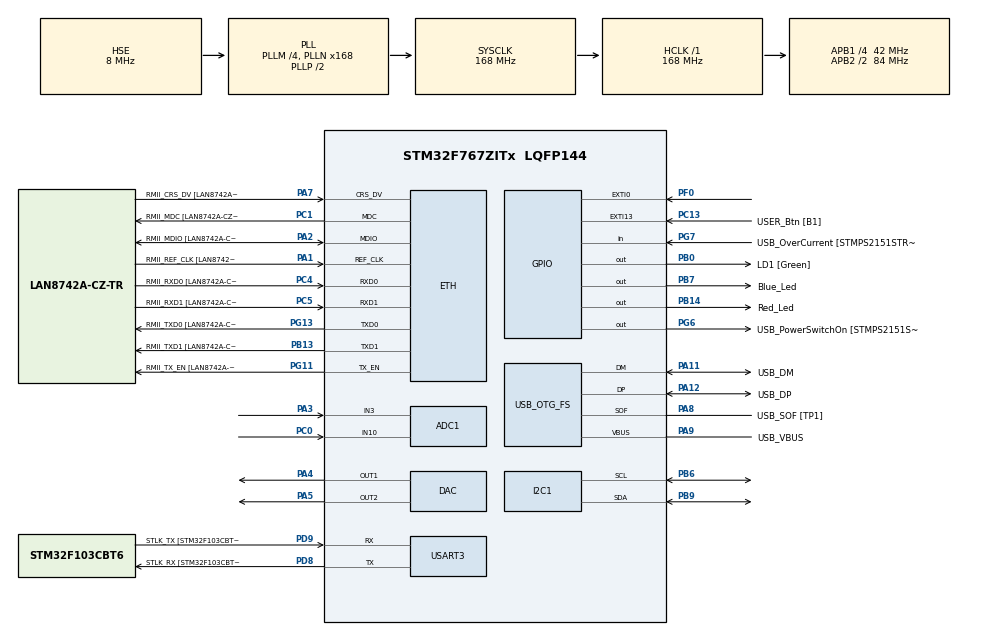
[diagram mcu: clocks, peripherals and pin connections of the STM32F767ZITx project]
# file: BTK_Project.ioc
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ADC1.Channel-0\#ChannelRegularConversion=ADC_CHANNEL_3
ADC1.Channel-1\#ChannelRegularConversion=ADC_CHANNEL_10
ADC1.Channel-2\#ChannelRegularConversion=ADC_CHANNEL_TEMPSENSOR
ADC1.Channel-3\#ChannelRegularConversion=ADC_CHANNEL_VREFINT
ADC1.ContinuousConvMode=ENABLE
ADC1.DMAContinuousRequests=ENABLE
ADC1.EOCSelection=ADC_EOC_SEQ_CONV
ADC1.NbrOfConversion=4
ADC1.NbrOfConversionFlag=1
ADC1.Rank-0\#ChannelRegularConversion=1
ADC1.Rank-1\#ChannelRegularConversion=2
ADC1.Rank-2\#ChannelRegularConversion=3
ADC1.Rank-3\#ChannelRegularConversion=4
ADC1.SamplingTime-0\#ChannelRegularConversion=ADC_SAMPLETIME_480CYCLES
ADC1.SamplingTime-1\#ChannelRegularConversion=ADC_SAMPLETIME_480CYCLES
ADC1.SamplingTime-2\#ChannelRegularConversion=ADC_SAMPLETIME_480CYCLES
ADC1.SamplingTime-3\#ChannelRegularConversion=ADC_SAMPLETIME_480CYCLES
ADC1.ScanConvMode=ADC_SCAN_ENABLE
ADC1.master=1
Dma.ADC1.0.Direction=DMA_PERIPH_TO_MEMORY
Dma.ADC1.0.FIFOMode=DMA_FIFOMODE_DISABLE
Dma.ADC1.0.Instance=DMA2_Stream0
Dma.ADC1.0.MemDataAlignment=DMA_MDATAALIGN_HALFWORD
Dma.ADC1.0.MemInc=DMA_MINC_ENABLE
Dma.ADC1.0.Mode=DMA_CIRCULAR
Dma.ADC1.0.PeriphDataAlignment=DMA_PDATAALIGN_HALFWORD
Dma.ADC1.0.PeriphInc=DMA_PINC_DISABLE
Dma.ADC1.0.Priority=DMA_PRIORITY_LOW
Dma.Request0=ADC1
ETH.MediaInterface=HAL_ETH_RMII_MODE
ETH.PHY_Name=LAN8742A_PHY_ADDRESS
ETH.PHY_Value=0
ETH.PhyAddress=0
I2C1.Timing=0x00A0A3F7
Mcu.Family=STM32F7
Mcu.Name=STM32F767ZITx
Mcu.Package=LQFP144
NVIC.ADC_IRQn=true\:0\:0\:false\:false\:true\:true\:true\:true
NVIC.DMA2_Stream0_IRQn=true\:0\:0\:false\:false\:true\:false\:true\:true
NVIC.EXTI0_IRQn=true\:0\:0\:false\:false\:true\:true\:true\:true
NVIC.PriorityGroup=NVIC_PRIORITYGROUP_4
NVIC.TIM8_TRG_COM_TIM14_IRQn=true\:0\:0\:false\:false\:true\:true\:true\:true
NVIC.USART3_IRQn=true\:0\:0\:false\:false\:true\:true\:true\:true
PA1.GPIO_Label=RMII_REF_CLK [LAN8742A-CZ-TR_REFCLK0]
PA1.Mode=RMII
PA1.Signal=ETH_REF_CLK
PA10.GPIO_Label=USB_ID
PA10.Signal=USB_OTG_FS_ID
PA11.GPIO_Label=USB_DM
PA11.Mode=Device_Only
PA11.Signal=USB_OTG_FS_DM
PA12.GPIO_Label=USB_DP
PA12.Mode=Device_Only
PA12.Signal=USB_OTG_FS_DP
PA13.GPIO_Label=TMS
PA13.Mode=Serial_Wire
PA13.Signal=SYS_JTMS-SWDIO
PA14.GPIO_Label=TCK
PA14.Mode=Serial_Wire
PA14.Signal=SYS_JTCK-SWCLK
PA2.GPIO_Label=RMII_MDIO [LAN8742A-CZ-TR_MDIO]
PA2.Mode=RMII
PA2.Signal=ETH_MDIO
PA3.Signal=ADCx_IN3
PA4.Signal=COMP_DAC1_group
PA5.Signal=COMP_DAC2_group
PA7.GPIO_Label=RMII_CRS_DV [LAN8742A-CZ-TR_CRS_DV]
PA7.Mode=RMII
PA7.Signal=ETH_CRS_DV
PA8.GPIO_Label=USB_SOF [TP1]
PA8.Mode=Activate_SOF_FS
PA8.Signal=USB_OTG_FS_SOF
PA9.GPIO_Label=USB_VBUS
PA9.Mode=Activate_VBUS
PA9.Signal=USB_OTG_FS_VBUS
PB0.GPIO_Label=LD1 [Green]
PB0.Signal=GPIO_Output
PB13.GPIO_Label=RMII_TXD1 [LAN8742A-CZ-TR_TXD1]
PB13.Mode=RMII
PB13.Signal=ETH_TXD1
PB14.GPIO_Label=Red_Led
PB14.Signal=GPIO_Output
PB3.GPIO_Label=SWO
PB3.Signal=SYS_JTDO-SWO
PB6.Mode=I2C
PB6.Signal=I2C1_SCL
PB7.GPIO_Label=Blue_Led
PB7.Signal=GPIO_Output
PB9.Mode=I2C
PB9.Signal=I2C1_SDA
PC0.Signal=ADCx_IN10
PC1.GPIO_Label=RMII_MDC [LAN8742A-CZ-TR_MDC]
PC1.Mode=RMII
PC1.Signal=ETH_MDC
PC13.GPIO_Label=USER_Btn [B1]
PC13.Signal=GPXTI13
PC14/OSC32_IN.Signal=RCC_OSC32_IN
PC15/OSC32_OUT.Signal=RCC_OSC32_OUT
PC4.GPIO_Label=RMII_RXD0 [LAN8742A-CZ-TR_RXD0]
PC4.Mode=RMII
PC4.Signal=ETH_RXD0
PC5.GPIO_Label=RMII_RXD1 [LAN8742A-CZ-TR_RXD1]
PC5.Mode=RMII
PC5.Signal=ETH_RXD1
PD8.GPIO_Label=STLK_RX [STM32F103CBT6_PA3]
PD8.Mode=Asynchronous
PD8.Signal=USART3_TX
PD9.GPIO_Label=STLK_TX [STM32F103CBT6_PA2]
PD9.Mode=Asynchronous
PD9.Signal=USART3_RX
PF0.Signal=GPXTI0
PG11.GPIO_Label=RMII_TX_EN [LAN8742A-CZ-TR_TXEN]
PG11.Mode=RMII
PG11.Signal=ETH_TX_EN
PG13.GPIO_Label=RMII_TXD0 [LAN8742A-CZ-TR_TXD0]
PG13.Mode=RMII
PG13.Signal=ETH_TXD0
PG6.GPIO_Label=USB_PowerSwitchOn [STMPS2151STR_EN]
PG6.Signal=GPIO_Output
PG7.GPIO_Label=USB_OverCurrent [STMPS2151STR_FAULT]
PG7.Signal=GPIO_Input
PH0/OSC_IN.GPIO_Label=MCO [STM32F103CBT6_PA8]
PH0/OSC_IN.Mode=HSE-External-Oscillator
PH0/OSC_IN.Signal=RCC_OSC_IN
PH1/OSC_OUT.Mode=HSE-External-Oscillator
PH1/OSC_OUT.Signal=RCC_OSC_OUT
ProjectManager.HeapSize=0x200
ProjectManager.StackSize=0x400
ProjectManager.TargetToolchain=STM32CubeIDE
RCC.48MHZClocksFreq_Value=24000000
RCC.AHBFreq_Value=168000000
RCC.APB1CLKDivider=RCC_HCLK_DIV4
RCC.APB1Freq_Value=42000000
RCC.APB1TimFreq_Value=84000000
RCC.APB2CLKDivider=RCC_HCLK_DIV2
RCC.APB2Freq_Value=84000000
RCC.APB2TimFreq_Value=168000000
RCC.CortexFreq_Value=168000000
RCC.HCLKFreq_Value=168000000
RCC.HSE_VALUE=8000000
RCC.HSI_VALUE=16000000
RCC.LSE_VALUE=32768
RCC.PLLM=4
RCC.PLLMUL=RCC_PLL_MUL9
RCC.PLLN=168
RCC.PLLQ=7
RCC.PRESCALERUSB=RCC_USBCLKSOURCE_PLL_DIV1_5
RCC.SYSCLKFreq_VALUE=168000000
RCC.SYSCLKSource=RCC_SYSCLKSOURCE_PLLCLK
RCC.SYSCLKSourceVirtual=RCC_SYSCLKSOURCE_PLLCLK
RCC.USBFreq_Value=48000000
RCC.VCOOutputFreq_Value=336000000
SH.ADCx_IN10.0=ADC1_IN10,IN10
SH.ADCx_IN3.0=ADC1_IN3,IN3
SH.COMP_DAC1_group.0=DAC_OUT1,DAC_OUT1
SH.COMP_DAC2_group.0=DAC_OUT2,DAC_OUT2
TIM14.Period=999
TIM14.Prescaler=83
USART3.VirtualMode-Asynchronous=VM_ASYNC
USB_OTG_FS.VirtualMode=Device_Only
VP_ADC1_TempSens_Input.Mode=IN-TempSens
VP_ADC1_Vref_Input.Mode=IN-Vrefint
VP_TIM14_VS_ClockSourceINT.Mode=Enable_Timer
board=NUCLEO-F767ZI

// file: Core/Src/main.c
/* USER CODE BEGIN Header */
/**
  ******************************************************************************
  * @file           : main.c
  * @brief          : Main program body
  ******************************************************************************
  */
/* USER CODE END Header */

/* USER CODE BEGIN Includes */
#include "main.h"
#include "string.h"
#include "software_timer.h"
#include "IO_driver.h"
#include "dma_driver.h"
#include "uart_ex.h"
#include "lcd_driver.h"
/* USER CODE END Includes */

#if defined ( __ICCARM__ ) /*!< IAR Compiler */
#pragma location=0x2007c000
ETH_DMADescTypeDef  DMARxDscrTab[ETH_RX_DESC_CNT]; /* Ethernet Rx DMA Descriptors */
#pragma location=0x2007c0a0
ETH_DMADescTypeDef  DMATxDscrTab[ETH_TX_DESC_CNT]; /* Ethernet Tx DMA Descriptors */

#elif defined ( __CC_ARM )  /* MDK ARM Compiler */

__attribute__((at(0x2007c000))) ETH_DMADescTypeDef  DMARxDscrTab[ETH_RX_DESC_CNT]; /* Ethernet Rx DMA Descriptors */
__attribute__((at(0x2007c0a0))) ETH_DMADescTypeDef  DMATxDscrTab[ETH_TX_DESC_CNT]; /* Ethernet Tx DMA Descriptors */

#elif defined ( __GNUC__ ) /* GNU Compiler */

ETH_DMADescTypeDef DMARxDscrTab[ETH_RX_DESC_CNT] __attribute__((section(".RxDecripSection"))); /* Ethernet Rx DMA Descriptors */
ETH_DMADescTypeDef DMATxDscrTab[ETH_TX_DESC_CNT] __attribute__((section(".TxDecripSection")));   /* Ethernet Tx DMA Descriptors */
#endif

ETH_TxPacketConfig TxConfig;

ADC_HandleTypeDef hadc1;
DMA_HandleTypeDef hdma_adc1;

DAC_HandleTypeDef hdac;

ETH_HandleTypeDef heth;

I2C_HandleTypeDef hi2c1;

TIM_HandleTypeDef htim14;

UART_HandleTypeDef huart3;

PCD_HandleTypeDef hpcd_USB_OTG_FS;

/* USER CODE BEGIN PV */
Stimer_t sTime_1s;
Stimer_t sTime_halfs;
IO_İnfo_t ioInfo;
ADC_Info_t adcInfo;
Circular_Buffer_t uart_cbin;
Circular_Buffer_t uart_cbout;
UART_Ex_t uart3;
char linebuffer[128]; // rxbuffer ismini linebuffer olarak güncelledim
LCD_t lcd =
{
.hi2c = &hi2c1,
.i2c_address = LCD_I2C_DEVICE_ADDRESS,
.rows = 2,
.colums = 16,
.backlight = true,
};
/* USER CODE END PV */

void SystemClock_Config(void);
static void MX_GPIO_Init(void);
static void MX_DMA_Init(void);
static void MX_ETH_Init(void);
static void MX_USART3_UART_Init(void);
static void MX_USB_OTG_FS_PCD_Init(void);
static void MX_ADC1_Init(void);
static void MX_DAC_Init(void);
static void MX_I2C1_Init(void);
static void MX_TIM14_Init(void);

int main(void)
{

  /* MCU Configuration--------------------------------------------------------*/

  /* Reset of all peripherals, Initializes the Flash interface and the Systick. */
  HAL_Init();

  /* Configure the system clock */
  SystemClock_Config();

  /* Initialize all configured peripherals */
  MX_GPIO_Init();
  MX_DMA_Init();
  MX_ETH_Init();
  MX_USART3_UART_Init();
  MX_USB_OTG_FS_PCD_Init();
  MX_ADC1_Init();
  MX_DAC_Init();
  MX_I2C1_Init();
  MX_TIM14_Init();
  /* USER CODE BEGIN 2 */
  software_timer_Init(&htim14);
  software_set_time(&sTime_1s, 1000);
  software_set_time(&sTime_halfs, 500);
  IO_İnitialization(&ioInfo);
  UARTx_Init(&uart3, &huart3, &uart_cbin, &uart_cbout);
  ADC_Initialization(&adcInfo, &hadc1);
  LCD_Initialization(&lcd);
  LCD_Clear(&lcd);
  LCD_Set_Cursor(&lcd, 0, 0);
  LCD_Send_String(&lcd, "LCD PROJE");
  HAL_Delay(100);
  LCD_Set_Cursor(&lcd, 1, 0);
  LCD_Send_String(&lcd, "ADC Init");
  HAL_Delay(100);

if(adcInfo.ADC_ErrorStatus == ADC_init_Start_Error)
  {
      UARTx_Printf(&uart3, "adc initialization error! \r\n");
      LCD_Clear(&lcd);
      LCD_Set_Cursor(&lcd, 0, 0);
      LCD_Send_String(&lcd, "LCD PROJE");
      HAL_Delay(100);
      LCD_Set_Cursor(&lcd, 1, 0);
      LCD_Send_String(&lcd, "ADC Error");
      HAL_Delay(100);
  }
  else
  {
      UARTx_Printf(&uart3, "adc initialization successfully! \r\n");
      LCD_Clear(&lcd);
      LCD_Set_Cursor(&lcd, 0, 0);
      LCD_Send_String(&lcd, "LCD PROJE");
      HAL_Delay(100);
      LCD_Set_Cursor(&lcd, 1, 0);
      LCD_Send_String(&lcd, "ADC Success");
      HAL_Delay(100);
  }

  if(HAL_DAC_Start(&hdac, DAC_CHANNEL_1) == HAL_OK)
  {
      UARTx_Printf(&uart3, "DAC START OK! \r\n");
      LCD_Clear(&lcd);
      LCD_Set_Cursor(&lcd, 0, 0);
      LCD_Send_String(&lcd, "LCD PROJE");
      HAL_Delay(100);
      LCD_Set_Cursor(&lcd, 1, 0);
      LCD_Send_String(&lcd, "DAC OK");
      HAL_Delay(100);
  }
  else
  {
      UARTx_Printf(&uart3, "DAC START NOK! \r\n");
      LCD_Clear(&lcd);
      LCD_Set_Cursor(&lcd, 0, 0);
      LCD_Send_String(&lcd, "LCD PROJE");
      HAL_Delay(100);
      LCD_Set_Cursor(&lcd, 1, 0);
      LCD_Send_String(&lcd, "DAC NOK");
      HAL_Delay(100);
  }
  /* USER CODE END 2 */

  /* Infinite loop */
  while (1)
  {

    /* USER CODE BEGIN 3 */

	  if(software_timer_check_elapsed_time(&sTime_1s))
	  {
		  HAL_GPIO_TogglePin(ioInfo.Outputsİnfo.Blue_Led.GPIOx, ioInfo.Outputsİnfo.Blue_Led.GPIO_Pin);
		  software_set_time(&sTime_1s, 1000);
	  }

	  if(software_timer_check_elapsed_time(&sTime_halfs))
	  {
		  HAL_GPIO_TogglePin(ioInfo.Outputsİnfo.Red_Led.GPIOx, ioInfo.Outputsİnfo.Red_Led.GPIO_Pin);
		  software_set_time(&sTime_halfs, 500);
	  }

      ADC_DMA_Conversion(&adcInfo);
      IO_Status_Control(&ioInfo);
      HAL_DAC_SetValue(&hdac, DAC_CHANNEL_1, DAC_ALIGN_12B_R, adcInfo.adcConvertData[0]);

      // UART Okuma Testi:
      if(UARTx_ReadLine(&uart3, linebuffer, sizeof(linebuffer)))
      {
          if(strstr(linebuffer,"LED1=ON")!= NULL)
          {
        	  ioInfo.Outputsİnfo.Red_Led.PinState = GPIO_PIN_SET;
        	  UARTx_Printf(&uart3, "RED LED ON! \r\n");
        	  LCD_Clear(&lcd);
        	  LCD_Set_Cursor(&lcd, 0, 0);
        	  LCD_Send_String(&lcd, "LCD PROJE");
        	  HAL_Delay(100);
        	  LCD_Set_Cursor(&lcd, 1, 0);
        	  LCD_Send_String(&lcd, "LED ON");
        	  HAL_Delay(100);
          }
          else if(strstr(linebuffer,"LED1=OFF")!=NULL)
          {

        	  ioInfo.Outputsİnfo.Red_Led.PinState = GPIO_PIN_RESET;
        	  UARTx_Printf(&uart3, "RED LED OFF! \r\n");
        	  LCD_Clear(&lcd);
        	  LCD_Set_Cursor(&lcd, 0, 0);
        	  LCD_Send_String(&lcd, "LCD PROJE");
        	  HAL_Delay(100);
        	  LCD_Set_Cursor(&lcd, 1, 0);
        	  LCD_Send_String(&lcd, "LED OFF");
        	  HAL_Delay(100);
          }
          else
          {

        	  //TODO: farklı mesaj

          }
      }
  }
  /* USER CODE END 3 */
}

void SystemClock_Config(void)
{
  RCC_OscInitTypeDef RCC_OscInitStruct = {0};
  RCC_ClkInitTypeDef RCC_ClkInitStruct = {0};

  /** Configure the main internal regulator output voltage
  */
  __HAL_RCC_PWR_CLK_ENABLE();
  __HAL_PWR_VOLTAGESCALING_CONFIG(PWR_REGULATOR_VOLTAGE_SCALE2);

  /** Initializes the RCC Oscillators according to the specified parameters
  * in the RCC_OscInitTypeDef structure.
  */
  RCC_OscInitStruct.OscillatorType = RCC_OSCILLATORTYPE_HSE;
  RCC_OscInitStruct.HSEState = RCC_HSE_ON;
  RCC_OscInitStruct.PLL.PLLState = RCC_PLL_ON;
  RCC_OscInitStruct.PLL.PLLSource = RCC_PLLSOURCE_HSE;
  RCC_OscInitStruct.PLL.PLLM = 4;
  RCC_OscInitStruct.PLL.PLLN = 168;
  RCC_OscInitStruct.PLL.PLLP = RCC_PLLP_DIV2;
  RCC_OscInitStruct.PLL.PLLQ = 7;
  RCC_OscInitStruct.PLL.PLLR = 2;
  if (HAL_RCC_OscConfig(&RCC_OscInitStruct) != HAL_OK)
  {
    Error_Handler();
  }

  /** Initializes the CPU, AHB and APB buses clocks
  */
  RCC_ClkInitStruct.ClockType = RCC_CLOCKTYPE_HCLK|RCC_CLOCKTYPE_SYSCLK
                              |RCC_CLOCKTYPE_PCLK1|RCC_CLOCKTYPE_PCLK2;
  RCC_ClkInitStruct.SYSCLKSource = RCC_SYSCLKSOURCE_PLLCLK;
  RCC_ClkInitStruct.AHBCLKDivider = RCC_SYSCLK_DIV1;
  RCC_ClkInitStruct.APB1CLKDivider = RCC_HCLK_DIV4;
  RCC_ClkInitStruct.APB2CLKDivider = RCC_HCLK_DIV2;

  if (HAL_RCC_ClockConfig(&RCC_ClkInitStruct, FLASH_LATENCY_5) != HAL_OK)
  {
    Error_Handler();
  }
}

static void MX_ADC1_Init(void)
{

  ADC_ChannelConfTypeDef sConfig = {0};

  /** Configure the global features of the ADC (Clock, Resolution, Data Alignment and number of conversion)
  */
  hadc1.Instance = ADC1;
  hadc1.Init.ClockPrescaler = ADC_CLOCK_SYNC_PCLK_DIV4;
  hadc1.Init.Resolution = ADC_RESOLUTION_12B;
  hadc1.Init.ScanConvMode = ADC_SCAN_ENABLE;
  hadc1.Init.ContinuousConvMode = ENABLE;
  hadc1.Init.DiscontinuousConvMode = DISABLE;
  hadc1.Init.ExternalTrigConvEdge = ADC_EXTERNALTRIGCONVEDGE_NONE;
  hadc1.Init.ExternalTrigConv = ADC_SOFTWARE_START;
  hadc1.Init.DataAlign = ADC_DATAALIGN_RIGHT;
  hadc1.Init.NbrOfConversion = 4;
  hadc1.Init.DMAContinuousRequests = ENABLE;
  hadc1.Init.EOCSelection = ADC_EOC_SEQ_CONV;
  if (HAL_ADC_Init(&hadc1) != HAL_OK)
  {
    Error_Handler();
  }

  /** Configure for the selected ADC regular channel its corresponding rank in the sequencer and its sample time.
  */
  sConfig.Channel = ADC_CHANNEL_3;
  sConfig.Rank = ADC_REGULAR_RANK_1;
  sConfig.SamplingTime = ADC_SAMPLETIME_480CYCLES;
  if (HAL_ADC_ConfigChannel(&hadc1, &sConfig) != HAL_OK)
  {
    Error_Handler();
  }

  /** Configure for the selected ADC regular channel its corresponding rank in the sequencer and its sample time.
  */
  sConfig.Channel = ADC_CHANNEL_10;
  sConfig.Rank = ADC_REGULAR_RANK_2;
  if (HAL_ADC_ConfigChannel(&hadc1, &sConfig) != HAL_OK)
  {
    Error_Handler();
  }

  /** Configure for the selected ADC regular channel its corresponding rank in the sequencer and its sample time.
  */
  sConfig.Channel = ADC_CHANNEL_TEMPSENSOR;
  sConfig.Rank = ADC_REGULAR_RANK_3;
  if (HAL_ADC_ConfigChannel(&hadc1, &sConfig) != HAL_OK)
  {
    Error_Handler();
  }

  /** Configure for the selected ADC regular channel its corresponding rank in the sequencer and its sample time.
  */
  sConfig.Channel = ADC_CHANNEL_VREFINT;
  sConfig.Rank = ADC_REGULAR_RANK_4;
  if (HAL_ADC_ConfigChannel(&hadc1, &sConfig) != HAL_OK)
  {
    Error_Handler();
  }

}

static void MX_DAC_Init(void)
{

  DAC_ChannelConfTypeDef sConfig = {0};

  /** DAC Initialization
  */
  hdac.Instance = DAC;
  if (HAL_DAC_Init(&hdac) != HAL_OK)
  {
    Error_Handler();
  }

  /** DAC channel OUT1 config
  */
  sConfig.DAC_Trigger = DAC_TRIGGER_NONE;
  sConfig.DAC_OutputBuffer = DAC_OUTPUTBUFFER_ENABLE;
  if (HAL_DAC_ConfigChannel(&hdac, &sConfig, DAC_CHANNEL_1) != HAL_OK)
  {
    Error_Handler();
  }

  /** DAC channel OUT2 config
  */
  if (HAL_DAC_ConfigChannel(&hdac, &sConfig, DAC_CHANNEL_2) != HAL_OK)
  {
    Error_Handler();
  }

}

static void MX_ETH_Init(void)
{

   static uint8_t MACAddr[6];

  heth.Instance = ETH;
  MACAddr[0] = 0x00;
  MACAddr[1] = 0x80;
  MACAddr[2] = 0xE1;
  MACAddr[3] = 0x00;
  MACAddr[4] = 0x00;
  MACAddr[5] = 0x00;
  heth.Init.MACAddr = &MACAddr[0];
  heth.Init.MediaInterface = HAL_ETH_RMII_MODE;
  heth.Init.TxDesc = DMATxDscrTab;
  heth.Init.RxDesc = DMARxDscrTab;
  heth.Init.RxBuffLen = 1524;

  if (HAL_ETH_Init(&heth) != HAL_OK)
  {
    Error_Handler();
  }

  memset(&TxConfig, 0 , sizeof(ETH_TxPacketConfig));
  TxConfig.Attributes = ETH_TX_PACKETS_FEATURES_CSUM | ETH_TX_PACKETS_FEATURES_CRCPAD;
  TxConfig.ChecksumCtrl = ETH_CHECKSUM_IPHDR_PAYLOAD_INSERT_PHDR_CALC;
  TxConfig.CRCPadCtrl = ETH_CRC_PAD_INSERT;

}

static void MX_I2C1_Init(void)
{

  hi2c1.Instance = I2C1;
  hi2c1.Init.Timing = 0x00A0A3F7;
  hi2c1.Init.OwnAddress1 = 0;
  hi2c1.Init.AddressingMode = I2C_ADDRESSINGMODE_7BIT;
  hi2c1.Init.DualAddressMode = I2C_DUALADDRESS_DISABLE;
  hi2c1.Init.OwnAddress2 = 0;
  hi2c1.Init.OwnAddress2Masks = I2C_OA2_NOMASK;
  hi2c1.Init.GeneralCallMode = I2C_GENERALCALL_DISABLE;
  hi2c1.Init.NoStretchMode = I2C_NOSTRETCH_DISABLE;
  if (HAL_I2C_Init(&hi2c1) != HAL_OK)
  {
    Error_Handler();
  }

  /** Configure Analogue filter
  */
  if (HAL_I2CEx_ConfigAnalogFilter(&hi2c1, I2C_ANALOGFILTER_ENABLE) != HAL_OK)
  {
    Error_Handler();
  }

  /** Configure Digital filter
  */
  if (HAL_I2CEx_ConfigDigitalFilter(&hi2c1, 0) != HAL_OK)
  {
    Error_Handler();
  }

}

static void MX_TIM14_Init(void)
{

  htim14.Instance = TIM14;
  htim14.Init.Prescaler = 83;
  htim14.Init.CounterMode = TIM_COUNTERMODE_UP;
  htim14.Init.Period = 999;
  htim14.Init.ClockDivision = TIM_CLOCKDIVISION_DIV1;
  htim14.Init.AutoReloadPreload = TIM_AUTORELOAD_PRELOAD_DISABLE;
  if (HAL_TIM_Base_Init(&htim14) != HAL_OK)
  {
    Error_Handler();
  }

}

static void MX_USART3_UART_Init(void)
{

  huart3.Instance = USART3;
  huart3.Init.BaudRate = 115200;
  huart3.Init.WordLength = UART_WORDLENGTH_8B;
  huart3.Init.StopBits = UART_STOPBITS_1;
  huart3.Init.Parity = UART_PARITY_NONE;
  huart3.Init.Mode = UART_MODE_TX_RX;
  huart3.Init.HwFlowCtl = UART_HWCONTROL_NONE;
  huart3.Init.OverSampling = UART_OVERSAMPLING_16;
  huart3.Init.OneBitSampling = UART_ONE_BIT_SAMPLE_DISABLE;
  huart3.AdvancedInit.AdvFeatureInit = UART_ADVFEATURE_NO_INIT;
  if (HAL_UART_Init(&huart3) != HAL_OK)
  {
    Error_Handler();
  }

}

static void MX_USB_OTG_FS_PCD_Init(void)
{

  hpcd_USB_OTG_FS.Instance = USB_OTG_FS;
  hpcd_USB_OTG_FS.Init.dev_endpoints = 6;
  hpcd_USB_OTG_FS.Init.speed = PCD_SPEED_FULL;
  hpcd_USB_OTG_FS.Init.dma_enable = DISABLE;
  hpcd_USB_OTG_FS.Init.phy_itface = PCD_PHY_EMBEDDED;
  hpcd_USB_OTG_FS.Init.Sof_enable = ENABLE;
  hpcd_USB_OTG_FS.Init.low_power_enable = DISABLE;
  hpcd_USB_OTG_FS.Init.lpm_enable = DISABLE;
  hpcd_USB_OTG_FS.Init.vbus_sensing_enable = ENABLE;
  hpcd_USB_OTG_FS.Init.use_dedicated_ep1 = DISABLE;
  if (HAL_PCD_Init(&hpcd_USB_OTG_FS) != HAL_OK)
  {
    Error_Handler();
  }

}

static void MX_DMA_Init(void)
{

  /* DMA controller clock enable */
  __HAL_RCC_DMA2_CLK_ENABLE();

  /* DMA interrupt init */
  /* DMA2_Stream0_IRQn interrupt configuration */
  HAL_NVIC_SetPriority(DMA2_Stream0_IRQn, 0, 0);
  HAL_NVIC_EnableIRQ(DMA2_Stream0_IRQn);

}

static void MX_GPIO_Init(void)
{
  GPIO_InitTypeDef GPIO_InitStruct = {0};

  /* GPIO Ports Clock Enable */
  __HAL_RCC_GPIOC_CLK_ENABLE();
  __HAL_RCC_GPIOF_CLK_ENABLE();
  __HAL_RCC_GPIOH_CLK_ENABLE();
  __HAL_RCC_GPIOA_CLK_ENABLE();
  __HAL_RCC_GPIOB_CLK_ENABLE();
  __HAL_RCC_GPIOD_CLK_ENABLE();
  __HAL_RCC_GPIOG_CLK_ENABLE();

  /*Configure GPIO pin Output Level */
  HAL_GPIO_WritePin(GPIOB, LD1_Pin|Red_Led_Pin|Blue_Led_Pin, GPIO_PIN_RESET);

  /*Configure GPIO pin Output Level */
  HAL_GPIO_WritePin(USB_PowerSwitchOn_GPIO_Port, USB_PowerSwitchOn_Pin, GPIO_PIN_RESET);

  /*Configure GPIO pin : USER_Btn_Pin */
  GPIO_InitStruct.Pin = USER_Btn_Pin;
  GPIO_InitStruct.Mode = GPIO_MODE_IT_RISING;
  GPIO_InitStruct.Pull = GPIO_NOPULL;
  HAL_GPIO_Init(USER_Btn_GPIO_Port, &GPIO_InitStruct);

  /*Configure GPIO pin : PF0 */
  GPIO_InitStruct.Pin = GPIO_PIN_0;
  GPIO_InitStruct.Mode = GPIO_MODE_IT_RISING;
  GPIO_InitStruct.Pull = GPIO_NOPULL;
  HAL_GPIO_Init(GPIOF, &GPIO_InitStruct);

  /*Configure GPIO pins : LD1_Pin Red_Led_Pin Blue_Led_Pin */
  GPIO_InitStruct.Pin = LD1_Pin|Red_Led_Pin|Blue_Led_Pin;
  GPIO_InitStruct.Mode = GPIO_MODE_OUTPUT_PP;
  GPIO_InitStruct.Pull = GPIO_NOPULL;
  GPIO_InitStruct.Speed = GPIO_SPEED_FREQ_LOW;
  HAL_GPIO_Init(GPIOB, &GPIO_InitStruct);

  /*Configure GPIO pin : USB_PowerSwitchOn_Pin */
  GPIO_InitStruct.Pin = USB_PowerSwitchOn_Pin;
  GPIO_InitStruct.Mode = GPIO_MODE_OUTPUT_PP;
  GPIO_InitStruct.Pull = GPIO_NOPULL;
  GPIO_InitStruct.Speed = GPIO_SPEED_FREQ_LOW;
  HAL_GPIO_Init(USB_PowerSwitchOn_GPIO_Port, &GPIO_InitStruct);

  /*Configure GPIO pin : USB_OverCurrent_Pin */
  GPIO_InitStruct.Pin = USB_OverCurrent_Pin;
  GPIO_InitStruct.Mode = GPIO_MODE_INPUT;
  GPIO_InitStruct.Pull = GPIO_NOPULL;
  HAL_GPIO_Init(USB_OverCurrent_GPIO_Port, &GPIO_InitStruct);

  /* EXTI interrupt init*/
  HAL_NVIC_SetPriority(EXTI0_IRQn, 0, 0);
  HAL_NVIC_EnableIRQ(EXTI0_IRQn);

}

void Error_Handler(void)
{
  __disable_irq();
  while (1)
  {
  }
}
